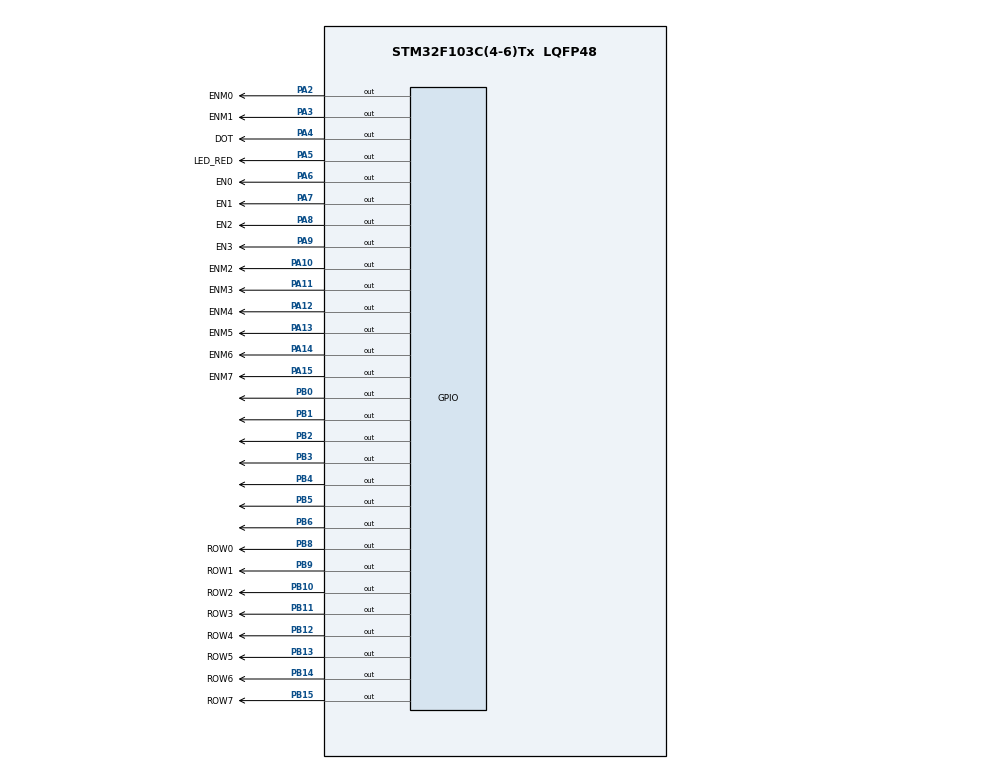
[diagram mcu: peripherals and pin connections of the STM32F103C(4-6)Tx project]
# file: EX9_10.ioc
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Mcu.Family=STM32F1
Mcu.Name=STM32F103C(4-6)Tx
Mcu.Package=LQFP48
NVIC.PriorityGroup=NVIC_PRIORITYGROUP_4
NVIC.TIM2_IRQn=true\:0\:0\:false\:false\:true\:true\:true
PA10.GPIO_Label=ENM2
PA10.Signal=GPIO_Output
PA11.GPIO_Label=ENM3
PA11.Signal=GPIO_Output
PA12.GPIO_Label=ENM4
PA12.Signal=GPIO_Output
PA13.GPIO_Label=ENM5
PA13.Signal=GPIO_Output
PA14.GPIO_Label=ENM6
PA14.Signal=GPIO_Output
PA15.GPIO_Label=ENM7
PA15.Signal=GPIO_Output
PA2.GPIO_Label=ENM0
PA2.Signal=GPIO_Output
PA3.GPIO_Label=ENM1
PA3.Signal=GPIO_Output
PA4.GPIO_Label=DOT
PA4.Signal=GPIO_Output
PA5.GPIO_Label=LED_RED
PA5.Signal=GPIO_Output
PA6.GPIO_Label=EN0
PA6.Signal=GPIO_Output
PA7.GPIO_Label=EN1
PA7.Signal=GPIO_Output
PA8.GPIO_Label=EN2
PA8.Signal=GPIO_Output
PA9.GPIO_Label=EN3
PA9.Signal=GPIO_Output
PB0.Signal=GPIO_Output
PB1.Signal=GPIO_Output
PB10.GPIO_Label=ROW2
PB10.Signal=GPIO_Output
PB11.GPIO_Label=ROW3
PB11.Signal=GPIO_Output
PB12.GPIO_Label=ROW4
PB12.Signal=GPIO_Output
PB13.GPIO_Label=ROW5
PB13.Signal=GPIO_Output
PB14.GPIO_Label=ROW6
PB14.Signal=GPIO_Output
PB15.GPIO_Label=ROW7
PB15.Signal=GPIO_Output
PB2.Signal=GPIO_Output
PB3.Signal=GPIO_Output
PB4.Signal=GPIO_Output
PB5.Signal=GPIO_Output
PB6.Signal=GPIO_Output
PB8.GPIO_Label=ROW0
PB8.Signal=GPIO_Output
PB9.GPIO_Label=ROW1
PB9.Signal=GPIO_Output
ProjectManager.HeapSize=0x200
ProjectManager.StackSize=0x400
ProjectManager.TargetToolchain=STM32CubeIDE
RCC.APB1Freq_Value=8000000
RCC.APB2Freq_Value=8000000
TIM2.Period=9
TIM2.Prescaler=7999
VP_SYS_VS_ND.Mode=No_Debug
VP_TIM2_VS_ClockSourceINT.Mode=Internal
board=custom

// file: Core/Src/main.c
/* USER CODE BEGIN Header */
/**
  ******************************************************************************
  * @file           : main.c
  * @brief          : Main program body
  ******************************************************************************
  * @attention
  *
  * <h2><center>&copy; Copyright (c) 2024 STMicroelectronics.
  * All rights reserved.</center></h2>
  *
  * This software component is licensed by ST under BSD 3-Clause license,
  * the "License"; You may not use this file except in compliance with the
  * License. You may obtain a copy of the License at:
  *                        opensource.org/licenses/BSD-3-Clause
  *
  ******************************************************************************
  */
/* USER CODE END Header */
#include "main.h"
#include "software_timer.h"
#include "matrix.h"

TIM_HandleTypeDef htim2;

/* USER CODE BEGIN PV */
uint8_t matrix_buffer[8] = {0xe7,0xdb,0xbd,0xbd,0x81,0xbd,0xbd,0xbd};
//uint8_t matrix_buffer[8] = {0x99,0x00,0x00,0x00,0x81,0xc3,0xe7,0xff};
int index_led_matrix = 0;
int shifting_index = 0;
/* USER CODE END PV */

void SystemClock_Config(void);
static void MX_GPIO_Init(void);
static void MX_TIM2_Init(void);

int main(void)
{

  /* MCU Configuration--------------------------------------------------------*/

  /* Reset of all peripherals, Initializes the Flash interface and the Systick. */
  HAL_Init();

  /* Configure the system clock */
  SystemClock_Config();

  /* Initialize all configured peripherals */
  MX_GPIO_Init();
  MX_TIM2_Init();
  /* USER CODE BEGIN 2 */
  HAL_TIM_Base_Start_IT(&htim2);
  /* USER CODE END 2 */

  /* Infinite loop */
  /* USER CODE BEGIN WHILE */
  void display7SEG(int num){
  	HAL_GPIO_WritePin(GPIOB, GPIO_PIN_0 | GPIO_PIN_1 | GPIO_PIN_2 | GPIO_PIN_3 | GPIO_PIN_4 | GPIO_PIN_5 | GPIO_PIN_6, SET);
  	switch (num) {
  		case 0:
  			HAL_GPIO_WritePin(GPIOB, GPIO_PIN_0 | GPIO_PIN_1 | GPIO_PIN_2 | GPIO_PIN_3 | GPIO_PIN_4 | GPIO_PIN_5, RESET);
  			break;
  		case 1:
  			HAL_GPIO_WritePin(GPIOB, GPIO_PIN_1 | GPIO_PIN_2, RESET);
  			break;
  		case 2:
  			HAL_GPIO_WritePin(GPIOB, GPIO_PIN_0 | GPIO_PIN_1 | GPIO_PIN_3 | GPIO_PIN_4 | GPIO_PIN_6, RESET);
  			break;
  		case 3:
  			HAL_GPIO_WritePin(GPIOB, GPIO_PIN_0 | GPIO_PIN_1 | GPIO_PIN_2 | GPIO_PIN_3 | GPIO_PIN_6, RESET);
  			break;
  		case 4:
  			HAL_GPIO_WritePin(GPIOB, GPIO_PIN_1 | GPIO_PIN_2 | GPIO_PIN_5 | GPIO_PIN_6, RESET);
  			break;
  		case 5:
  			HAL_GPIO_WritePin(GPIOB, GPIO_PIN_0 | GPIO_PIN_2 | GPIO_PIN_3 | GPIO_PIN_5 | GPIO_PIN_6, RESET);
  			break;
  		case 6:
  			HAL_GPIO_WritePin(GPIOB, GPIO_PIN_0 | GPIO_PIN_2 | GPIO_PIN_3 | GPIO_PIN_4 | GPIO_PIN_5 | GPIO_PIN_6, RESET);
  			break;
  		case 7:
  			HAL_GPIO_WritePin(GPIOB, GPIO_PIN_0 | GPIO_PIN_1 | GPIO_PIN_2, RESET);
  			break;
  		case 8:
  			HAL_GPIO_WritePin(GPIOB, GPIO_PIN_0 | GPIO_PIN_1 | GPIO_PIN_2 | GPIO_PIN_3 | GPIO_PIN_4 | GPIO_PIN_5 | GPIO_PIN_6, RESET);
  			break;
  		case 9:
  			HAL_GPIO_WritePin(GPIOB, GPIO_PIN_0 | GPIO_PIN_1 | GPIO_PIN_2 | GPIO_PIN_3 | GPIO_PIN_5 | GPIO_PIN_6, RESET);
  			break;
  	}
  }

  void clear(){
  	HAL_GPIO_WritePin(LED_RED_GPIO_Port, LED_RED_Pin, SET);
  	HAL_GPIO_WritePin(GPIOA, DOT_Pin, SET);
  	HAL_GPIO_WritePin(GPIOA, EN0_Pin | EN1_Pin | EN2_Pin | EN3_Pin , SET);
  	HAL_GPIO_WritePin(GPIOB, GPIO_PIN_All, SET);
  }

  int led_buffer[4] = {1 , 2 , 3 , 4};

  void update7SEG ( int index ) {
  	switch ( index ) {
  		case 0:
  			// Display the first 7 SEG with led_buffer [0]
  			HAL_GPIO_WritePin(GPIOA, EN1_Pin|EN2_Pin|EN3_Pin, GPIO_PIN_SET);
  			display7SEG(led_buffer[0]);
  			HAL_GPIO_WritePin(GPIOA, EN0_Pin, GPIO_PIN_RESET);
  			break ;
  		case 1:
  			// Display the second 7 SEG with led_buffer [1]
  			HAL_GPIO_WritePin(GPIOA, EN0_Pin|EN2_Pin|EN3_Pin, GPIO_PIN_SET);
  			display7SEG(led_buffer[1]);
  			HAL_GPIO_WritePin(GPIOA, EN1_Pin, GPIO_PIN_RESET);
  			break ;
  		case 2:
  			// Display the third 7 SEG with led_buffer [2]
  			HAL_GPIO_WritePin(GPIOA, EN1_Pin|EN0_Pin|EN3_Pin, GPIO_PIN_SET);
  			display7SEG(led_buffer[2]);
  			HAL_GPIO_WritePin(GPIOA, EN2_Pin, GPIO_PIN_RESET);
  			break ;
  		case 3:
  			// Display the forth 7 SEG with led_buffer [3]
  			HAL_GPIO_WritePin(GPIOA, EN1_Pin|EN2_Pin|EN0_Pin, GPIO_PIN_SET);
  			display7SEG(led_buffer[3]);
  			HAL_GPIO_WritePin(GPIOA, EN3_Pin, GPIO_PIN_RESET);
  			break ;
  		default :
  			break ;
  	}
  }
  int hour = 15, minute = 8, second = 50;
  void updateClockBuffer(){
	  led_buffer[0] = hour/10;
	  led_buffer[1] = hour%10;
	  led_buffer[2] = minute/10;
	  led_buffer[3] = minute%10;
  }
  setTimer1(100);
  setTimer2(25);
  setTimer3(50);
  int index = 0;
  clear();

  while (1)
  {
    /* USER CODE END WHILE */

    /* USER CODE BEGIN 3 */
	  if (timer1_flag == 1){
		  setTimer1(100);
		  HAL_GPIO_TogglePin(GPIOA, LED_RED_Pin);
		  second++;
		  if(second >= 60) {
			  second = 0;
			  minute++;
		  }
		  if(minute >= 60) {
			  minute = 0;
			  hour++;
		  }
		  if(hour >= 24) {
			  hour = 0;
		  }
	  }
	  if (timer3_flag == 1){
		  setTimer3(100);
		  HAL_GPIO_TogglePin(GPIOA, DOT_Pin);
	  }
	  if (timer2_flag == 1){
		  updateClockBuffer();
		  setTimer2(25);
		  if (index == 4) index = 0;
		  update7SEG(index);
		  index = index + 1;
	  }
	  if(timer4_flag == 1){
		  shifting_index ++;
		  if(shifting_index >= 8) {
			  shifting_index = 0;
		  }
		  setTimer4(100);
	  }
	  if(timer5_flag == 1){
		  index_led_matrix ++;
		  if(index_led_matrix >= 8) index_led_matrix = 0;
		  setTimer5(1);
		  updateLEDMatrix(index_led_matrix);
	  }
  }
  /* USER CODE END 3 */
}

void SystemClock_Config(void)
{
  RCC_OscInitTypeDef RCC_OscInitStruct = {0};
  RCC_ClkInitTypeDef RCC_ClkInitStruct = {0};

  /** Initializes the RCC Oscillators according to the specified parameters
  * in the RCC_OscInitTypeDef structure.
  */
  RCC_OscInitStruct.OscillatorType = RCC_OSCILLATORTYPE_HSI;
  RCC_OscInitStruct.HSIState = RCC_HSI_ON;
  RCC_OscInitStruct.HSICalibrationValue = RCC_HSICALIBRATION_DEFAULT;
  RCC_OscInitStruct.PLL.PLLState = RCC_PLL_NONE;
  if (HAL_RCC_OscConfig(&RCC_OscInitStruct) != HAL_OK)
  {
    Error_Handler();
  }
  /** Initializes the CPU, AHB and APB buses clocks
  */
  RCC_ClkInitStruct.ClockType = RCC_CLOCKTYPE_HCLK|RCC_CLOCKTYPE_SYSCLK
                              |RCC_CLOCKTYPE_PCLK1|RCC_CLOCKTYPE_PCLK2;
  RCC_ClkInitStruct.SYSCLKSource = RCC_SYSCLKSOURCE_HSI;
  RCC_ClkInitStruct.AHBCLKDivider = RCC_SYSCLK_DIV1;
  RCC_ClkInitStruct.APB1CLKDivider = RCC_HCLK_DIV1;
  RCC_ClkInitStruct.APB2CLKDivider = RCC_HCLK_DIV1;

  if (HAL_RCC_ClockConfig(&RCC_ClkInitStruct, FLASH_LATENCY_0) != HAL_OK)
  {
    Error_Handler();
  }
}

static void MX_TIM2_Init(void)
{

  TIM_ClockConfigTypeDef sClockSourceConfig = {0};
  TIM_MasterConfigTypeDef sMasterConfig = {0};

  htim2.Instance = TIM2;
  htim2.Init.Prescaler = 7999;
  htim2.Init.CounterMode = TIM_COUNTERMODE_UP;
  htim2.Init.Period = 9;
  htim2.Init.ClockDivision = TIM_CLOCKDIVISION_DIV1;
  htim2.Init.AutoReloadPreload = TIM_AUTORELOAD_PRELOAD_DISABLE;
  if (HAL_TIM_Base_Init(&htim2) != HAL_OK)
  {
    Error_Handler();
  }
  sClockSourceConfig.ClockSource = TIM_CLOCKSOURCE_INTERNAL;
  if (HAL_TIM_ConfigClockSource(&htim2, &sClockSourceConfig) != HAL_OK)
  {
    Error_Handler();
  }
  sMasterConfig.MasterOutputTrigger = TIM_TRGO_RESET;
  sMasterConfig.MasterSlaveMode = TIM_MASTERSLAVEMODE_DISABLE;
  if (HAL_TIMEx_MasterConfigSynchronization(&htim2, &sMasterConfig) != HAL_OK)
  {
    Error_Handler();
  }

}

static void MX_GPIO_Init(void)
{
  GPIO_InitTypeDef GPIO_InitStruct = {0};

  /* GPIO Ports Clock Enable */
  __HAL_RCC_GPIOA_CLK_ENABLE();
  __HAL_RCC_GPIOB_CLK_ENABLE();

  /*Configure GPIO pin Output Level */
  HAL_GPIO_WritePin(GPIOA, ENM0_Pin|ENM1_Pin|DOT_Pin|LED_RED_Pin
                          |EN0_Pin|EN1_Pin|EN2_Pin|EN3_Pin
                          |ENM2_Pin|ENM3_Pin|ENM4_Pin|ENM5_Pin
                          |ENM6_Pin|ENM7_Pin, GPIO_PIN_RESET);

  /*Configure GPIO pin Output Level */
  HAL_GPIO_WritePin(GPIOB, GPIO_PIN_0|GPIO_PIN_1|GPIO_PIN_2|ROW2_Pin
                          |ROW3_Pin|ROW4_Pin|ROW5_Pin|ROW6_Pin
                          |ROW7_Pin|GPIO_PIN_3|GPIO_PIN_4|GPIO_PIN_5
                          |GPIO_PIN_6|ROW0_Pin|ROW1_Pin, GPIO_PIN_RESET);

  /*Configure GPIO pins : ENM0_Pin ENM1_Pin DOT_Pin LED_RED_Pin
                           EN0_Pin EN1_Pin EN2_Pin EN3_Pin
                           ENM2_Pin ENM3_Pin ENM4_Pin ENM5_Pin
                           ENM6_Pin ENM7_Pin */
  GPIO_InitStruct.Pin = ENM0_Pin|ENM1_Pin|DOT_Pin|LED_RED_Pin
                          |EN0_Pin|EN1_Pin|EN2_Pin|EN3_Pin
                          |ENM2_Pin|ENM3_Pin|ENM4_Pin|ENM5_Pin
                          |ENM6_Pin|ENM7_Pin;
  GPIO_InitStruct.Mode = GPIO_MODE_OUTPUT_PP;
  GPIO_InitStruct.Pull = GPIO_NOPULL;
  GPIO_InitStruct.Speed = GPIO_SPEED_FREQ_LOW;
  HAL_GPIO_Init(GPIOA, &GPIO_InitStruct);

  /*Configure GPIO pins : PB0 PB1 PB2 ROW2_Pin
                           ROW3_Pin ROW4_Pin ROW5_Pin ROW6_Pin
                           ROW7_Pin PB3 PB4 PB5
                           PB6 ROW0_Pin ROW1_Pin */
  GPIO_InitStruct.Pin = GPIO_PIN_0|GPIO_PIN_1|GPIO_PIN_2|ROW2_Pin
                          |ROW3_Pin|ROW4_Pin|ROW5_Pin|ROW6_Pin
                          |ROW7_Pin|GPIO_PIN_3|GPIO_PIN_4|GPIO_PIN_5
                          |GPIO_PIN_6|ROW0_Pin|ROW1_Pin;
  GPIO_InitStruct.Mode = GPIO_MODE_OUTPUT_PP;
  GPIO_InitStruct.Pull = GPIO_NOPULL;
  GPIO_InitStruct.Speed = GPIO_SPEED_FREQ_LOW;
  HAL_GPIO_Init(GPIOB, &GPIO_InitStruct);

}

/* USER CODE BEGIN 4 */
void HAL_TIM_PeriodElapsedCallback(TIM_HandleTypeDef *htim){
	timerRun();
}
/* USER CODE END 4 */

void Error_Handler(void)
{
  __disable_irq();
  while (1)
  {
  }
}

/************************ (C) COPYRIGHT STMicroelectronics *****END OF FILE****/
